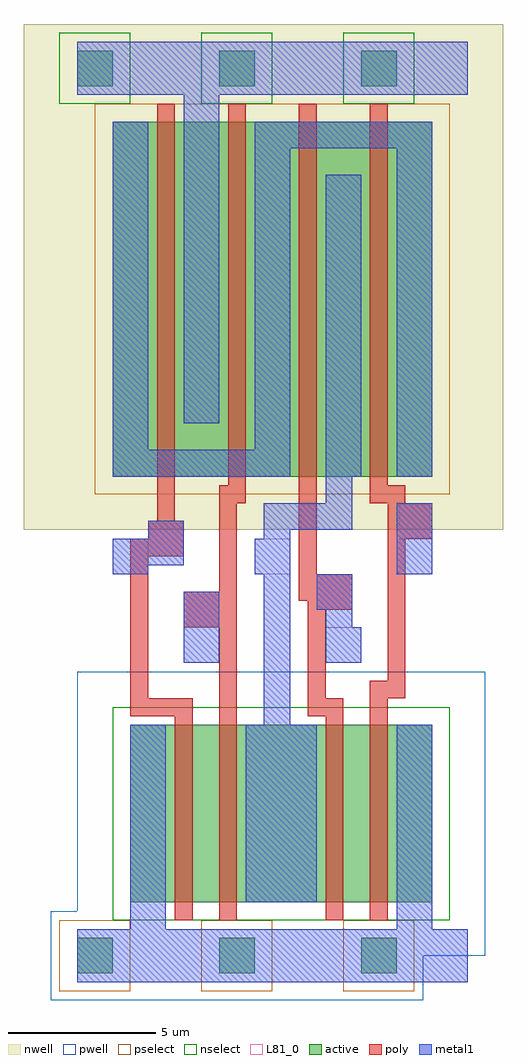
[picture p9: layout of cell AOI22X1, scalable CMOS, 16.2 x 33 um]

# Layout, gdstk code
import gdstk
lib = gdstk.Library(unit=1e-6, precision=1e-09)
def R(c, l, rs):  # rectangles x0, y0, x1, y1
    for r in rs: c.add(gdstk.rectangle(r[:2], r[2:], *l))
def A(c, l, x, y, w, h, nx, ny, dx, dy):  # array of equal rectangles
    R(c, l, [(x+i*dx, y+j*dy, x+i*dx+w, y+j*dy+h) for i in range(nx) for j in range(ny)])
pwell = (41, 0)
nwell = (42, 0)
active = (43, 0)
pselect = (44, 0)
nselect = (45, 0)
poly = (46, 0)
metal1 = (49, 0)
L81_0 = (81, 0)

aoi22x1 = lib.new_cell('AOI22X1')
R(aoi22x1, pwell, [(-1.5,-1.5,11.1,0), (-1.5,0,13.2,1.5), (-0.6,1.5,13.2,9.6)])
R(aoi22x1, nwell, [(-2.4,14.4,13.8,31.5)])
A(aoi22x1, active, -0.6, -0.6, 1.2, 1.2, 3, 2, 4.8, 30)
R(aoi22x1, active, [(1.2,1.8,11.4,7.8), (0.6,16.2,11.4,28.2)])
A(aoi22x1, pselect, -1.2, -1.2, 2.4, 2.4, 3, 1, 4.8, 0)
R(aoi22x1, pselect, [(0,15.6,12,28.8)])
A(aoi22x1, nselect, -1.2, 28.8, 2.4, 2.4, 3, 1, 4.8, 0)
R(aoi22x1, nselect, [(0.6,1.2,12,8.4)])
R(aoi22x1, poly, [(2.7,1.2,3.3,8.1), (4.2,1.2,4.8,11.1), (7.8,1.2,8.4,8.1), (9.3,1.2,9.9,8.7), (1.2,8.1,3.3,8.7), (7.2,8.1,8.4,8.7), (1.2,8.7,1.8,13.5), (7.2,8.7,7.8,11.7), (9.3,8.7,10.5,9.3), (9.9,9.3,10.5,14.1), (3,11.1,4.8,12.3), (7.2,11.7,8.7,12), (6.9,12,8.7,12.9), (4.2,12.3,4.8,15.3), (6.9,12.9,7.5,28.8), (1.2,13.5,3,14.1), (1.8,14.1,3,14.7), (9.9,14.1,11.4,15.3), (2.1,14.7,2.7,28.8), (4.2,15.3,5.1,15.9), (9.3,15.3,10.5,15.9), (4.5,15.9,5.1,28.8), (9.3,15.9,9.9,28.8)])
R(aoi22x1, metal1, [(-0.6,-0.9,12.6,0.9), (1.2,0.9,2.4,7.8), (10.2,0.9,11.4,7.8), (5.1,1.8,7.5,7.8), (5.7,7.8,6.6,12.9), (3,9.9,4.2,12.3), (7.8,9.9,9,11.1), (7.8,11.1,8.7,11.7), (7.5,11.7,8.7,12.9), (0.6,12.9,1.8,13.2), (5.4,12.9,6.6,14.1), (10.2,12.9,11.4,15.3), (0.6,13.2,3,14.1), (1.8,14.1,3,14.7), (5.7,14.1,6.6,14.4), (5.7,14.4,8.7,15.3), (7.8,15.3,8.7,16.2), (0.6,16.2,6.6,17.1), (7.8,16.2,9,26.4), (10.2,16.2,11.4,27.3), (0.6,17.1,1.8,28.2), (5.4,17.1,6.6,27.3), (3,18,4.2,29.1), (5.4,27.3,11.4,28.2), (-0.6,29.1,12.6,30.9)])
A(aoi22x1, L81_0, 0.6, 12.9, 1.2, 1.2, 3, 1, 4.8, 0)
R(aoi22x1, L81_0, [(3,9.9,4.2,11.1), (7.8,9.9,9,11.1)])

lib.write_gds('AOI22X1.gds')
